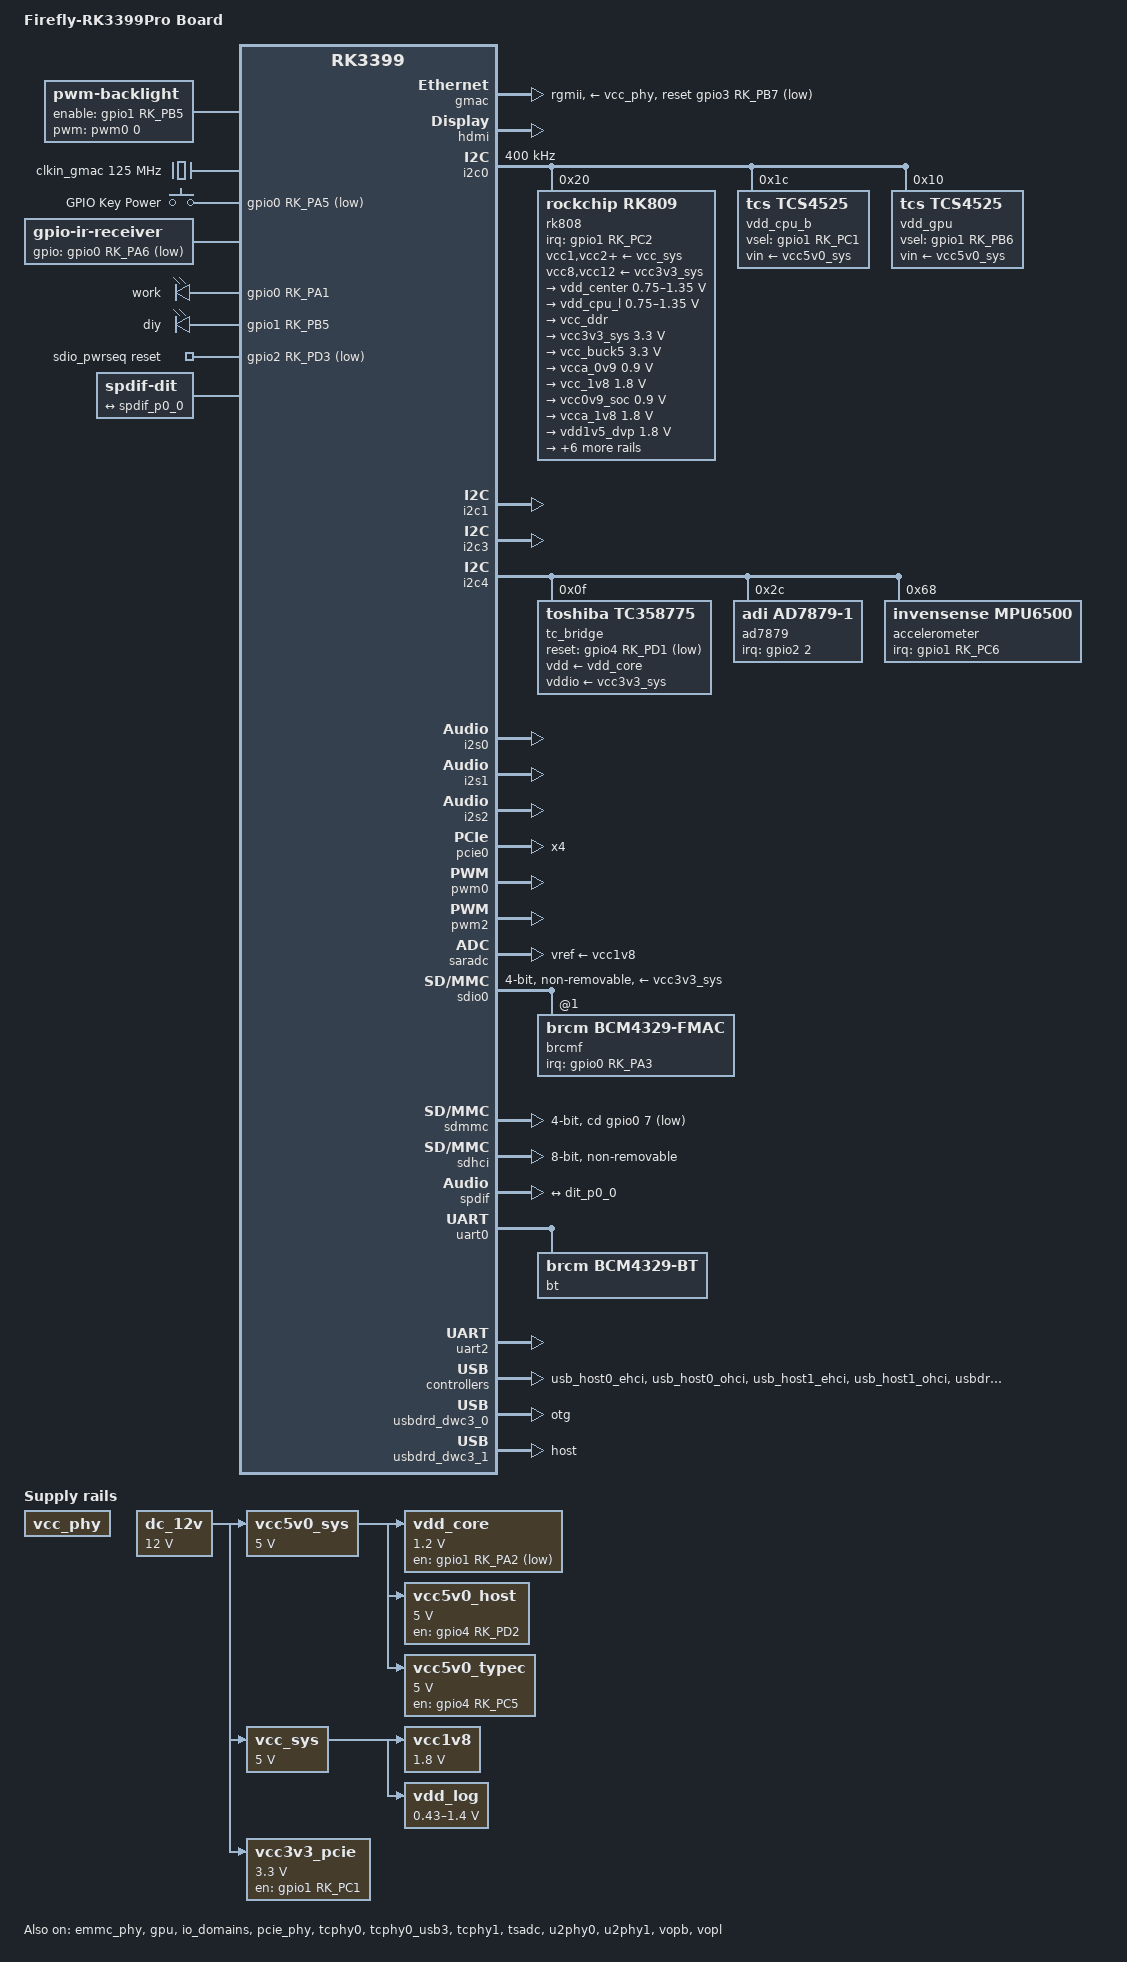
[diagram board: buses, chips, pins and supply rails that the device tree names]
// SPDX-License-Identifier: (GPL-2.0+ OR MIT)
/*
 * Copyright (c) 2017 Fuzhou Rockchip Electronics Co., Ltd.
 */

/dts-v1/;
#include <dt-bindings/input/linux-event-codes.h>
#include <dt-bindings/interrupt-controller/irq.h>
#include <dt-bindings/pwm/pwm.h>
#include <dt-bindings/usb/pd.h>

#include "rk3399pro.dtsi"
#include "rk3399-opp.dtsi"

/ {
	model = "Firefly-RK3399Pro Board";
	compatible = "firefly,firefly-rk3399pro",
		"firefly,firefly-rk3399",
		"rockchip,rk3399";

	aliases {
		mmc0 = &sdio0;
		mmc1 = &sdmmc;
		mmc2 = &sdhci;
	};

	chosen {
		stdout-path = "serial2:1500000n8";
	};

	backlight: backlight {
		compatible = "pwm-backlight";
		enable-gpios = <&gpio1 RK_PB5 GPIO_ACTIVE_HIGH>;
		pwms = <&pwm0 0 25000 0>;
		brightness-levels = <
			  0   1   2   3   4   5   6   7
			  8   9  10  11  12  13  14  15
			 16  17  18  19  20  21  22  23
			 24  25  26  27  28  29  30  31
			 32  33  34  35  36  37  38  39
			 40  41  42  43  44  45  46  47
			 48  49  50  51  52  53  54  55
			 56  57  58  59  60  61  62  63
			 64  65  66  67  68  69  70  71
			 72  73  74  75  76  77  78  79
			 80  81  82  83  84  85  86  87
			 88  89  90  91  92  93  94  95
			 96  97  98  99 100 101 102 103
			104 105 106 107 108 109 110 111
			112 113 114 115 116 117 118 119
			120 121 122 123 124 125 126 127
			128 129 130 131 132 133 134 135
			136 137 138 139 140 141 142 143
			144 145 146 147 148 149 150 151
			152 153 154 155 156 157 158 159
			160 161 162 163 164 165 166 167
			168 169 170 171 172 173 174 175
			176 177 178 179 180 181 182 183
			184 185 186 187 188 189 190 191
			192 193 194 195 196 197 198 199
			200 201 202 203 204 205 206 207
			208 209 210 211 212 213 214 215
			216 217 218 219 220 221 222 223
			224 225 226 227 228 229 230 231
			232 233 234 235 236 237 238 239
			240 241 242 243 244 245 246 247
			248 249 250 251 252 253 254 255>;
		default-brightness-level = <200>;
	};

	clkin_gmac: external-gmac-clock {
		compatible = "fixed-clock";
		clock-frequency = <125000000>;
		clock-output-names = "clkin_gmac";
		#clock-cells = <0>;
	};

	gpio-keys {
		compatible = "gpio-keys";
		autorepeat;
		pinctrl-names = "default";
		pinctrl-0 = <&pwrbtn>;

		key-power {
			debounce-interval = <100>;
			gpios = <&gpio0 RK_PA5 GPIO_ACTIVE_LOW>;
			label = "GPIO Key Power";
			linux,code = <KEY_POWER>;
			wakeup-source;
		};
	};

	ir-receiver {
		compatible = "gpio-ir-receiver";
		gpios = <&gpio0 RK_PA6 GPIO_ACTIVE_LOW>;
		pinctrl-0 = <&ir_int>;
		pinctrl-names = "default";
	};

	leds {
		compatible = "gpio-leds";
		pinctrl-names = "default";
		pinctrl-0 = <&work_led_pin>, <&diy_led_pin>;

		work_led: led-0 {
			label = "work";
			linux,default-trigger = "heartbeat";
			gpios = <&gpio0 RK_PA1 GPIO_ACTIVE_HIGH>;
		};

		diy_led: led-1 {
			label = "diy";
			linux,default-trigger = "heartbeat";
			gpios = <&gpio1 RK_PB5 GPIO_ACTIVE_HIGH>;
		};
	};

	rk809-sound {
		compatible = "simple-audio-card";
		simple-audio-card,format = "i2s";
		simple-audio-card,name = "rockchip,rk809-codec";
		simple-audio-card,mclk-fs = <256>;
		simple-audio-card,widgets =
			"Microphone", "Mic Jack",
			"Headphone", "Headphone Jack";
		simple-audio-card,routing =
			"Mic Jack", "MICBIAS1",
			"IN1P", "Mic Jack",
			"Headphone Jack", "HPOL",
			"Headphone Jack", "HPOR";
		simple-audio-card,cpu {
			sound-dai = <&i2s1>;
		};
		simple-audio-card,codec {
			sound-dai = <&rk809_codec>;
		};
	};

	sdio_pwrseq: sdio-pwrseq {
		compatible = "mmc-pwrseq-simple";
		clocks = <&rk808 1>;
		clock-names = "ext_clock";
		pinctrl-names = "default";
		pinctrl-0 = <&wifi_enable_h>;

		/*
		 * On the module itself this is one of these (depending
		 * on the actual card populated):
		 * - SDIO_RESET_L_WL_REG_ON
		 * - PDN (power down when low)
		 */
		reset-gpios = <&gpio2 RK_PD3 GPIO_ACTIVE_LOW>;
	};

	sound-dit {
		compatible = "audio-graph-card";
		label = "SPDIF";
		dais = <&spdif_p0>;
	};

	spdif-dit {
		compatible = "linux,spdif-dit";
		#sound-dai-cells = <0>;

		port {
			dit_p0_0: endpoint {
				remote-endpoint = <&spdif_p0_0>;
			};
		};
	};

	/*
	 *
	 */
	vcc_phy: vcc-phy-regulator {
		compatible = "regulator-fixed";
		regulator-name = "vcc_phy";
		regulator-always-on;
		regulator-boot-on;
	};
	/*
	 *
	 */

	/*
	 * Volatage Regulators and DC/DC converters
	 */
	dc_12v: dc-12v { /* J1 or J2 jack */
		compatible = "regulator-fixed";
		regulator-name = "dc_12v";
		regulator-always-on;
		regulator-boot-on;
		regulator-min-microvolt = <12000000>;
		regulator-max-microvolt = <12000000>;
	};

	vcc5v0_sys: vcc5v0-sys { /* U1 page 2 */
		compatible = "regulator-fixed";
		regulator-name = "vcc5v0_sys";
		regulator-always-on; /* PMIC_EXT_EN */
		regulator-boot-on;
		regulator-min-microvolt = <5000000>;
		regulator-max-microvolt = <5000000>;
		vin-supply = <&dc_12v>;
	};

	vdd_core: vdd-core { /* U13 page 16 */
		compatible = "regulator-fixed";
		pinctrl-names = "default";
		pinctrl-0 = <&mipi_pwr_en_pin>;
		regulator-name = "vdd_core";
		gpio = <&gpio1 RK_PA2 GPIO_ACTIVE_HIGH>;
		regulator-min-microvolt = <1200000>;
		regulator-max-microvolt = <1200000>;
		vin-supply = <&vcc5v0_sys>;
	};

	vcc_sys: vcc-sys { /* U2 page 2 */
		compatible = "regulator-fixed";
		regulator-name = "vcc_sys";
		regulator-always-on; /* PMIC_EXT_EN */
		regulator-boot-on;
		regulator-min-microvolt = <5000000>;
		regulator-max-microvolt = <5000000>;
		vin-supply = <&dc_12v>;
	};

	/* switched by pmic_sleep */
	vcc1v8: vcc1v8 {
		compatible = "regulator-fixed";
		regulator-name = "vcc1v8";
		regulator-always-on;
		regulator-boot-on;
		regulator-min-microvolt = <1800000>;
		regulator-max-microvolt = <1800000>;
		vin-supply = <&vcc_sys>;
	};

	vcc3v3_pcie: vcc3v3-pcie-regulator {
		compatible = "regulator-fixed";
		enable-active-high;
		gpio = <&gpio1 RK_PC1 GPIO_ACTIVE_HIGH>;
		pinctrl-names = "default";
		pinctrl-0 = <&pcie_pwr_en>;
		regulator-name = "vcc3v3_pcie";
		regulator-min-microvolt = <3300000>;
		regulator-max-microvolt = <3300000>;
		regulator-always-on;
		regulator-boot-on;
		vin-supply = <&dc_12v>;
	};

	/* Actually 3 regulators (host0, 1, 2) controlled by the same gpio */
	vcc5v0_host: vcc5v0-host-regulator {
		compatible = "regulator-fixed";
		enable-active-high;
		gpio = <&gpio4 RK_PD2 GPIO_ACTIVE_HIGH>;
		pinctrl-names = "default";
		pinctrl-0 = <&vcc5v0_host_en>;
		regulator-name = "vcc5v0_host";
		regulator-min-microvolt = <5000000>;
		regulator-max-microvolt = <5000000>;
		regulator-always-on;
		vin-supply = <&vcc5v0_sys>;
	};

	vcc5v0_typec: vcc5v0-typec-regulator {
		compatible = "regulator-fixed";
		enable-active-high;
		gpio = <&gpio4 RK_PC5 GPIO_ACTIVE_HIGH>;
		pinctrl-names = "default";
		pinctrl-0 = <&vcc5v0_typec_en>;
		regulator-name = "vcc5v0_typec";
		regulator-min-microvolt = <5000000>;
		regulator-max-microvolt = <5000000>;
		regulator-always-on;
		vin-supply = <&vcc5v0_sys>;
	};

	vdd_log: vdd-log {
		compatible = "pwm-regulator";
		pwms = <&pwm2 0 25000 1>;
		pwm-supply = <&vcc_sys>;
		regulator-name = "vdd_log";
		regulator-always-on;
		regulator-boot-on;
		regulator-min-microvolt = <430000>;
		regulator-max-microvolt = <1400000>;
	};
};

&cpu_l0 {
	cpu-supply = <&vdd_cpu_l>;
};

&cpu_l1 {
	cpu-supply = <&vdd_cpu_l>;
};

&cpu_l2 {
	cpu-supply = <&vdd_cpu_l>;
};

&cpu_l3 {
	cpu-supply = <&vdd_cpu_l>;
};

&cpu_b0 {
	cpu-supply = <&vdd_cpu_b>;
};

&cpu_b1 {
	cpu-supply = <&vdd_cpu_b>;
};

&emmc_phy {
	status = "okay";
};

&gmac {
	assigned-clocks = <&cru SCLK_RMII_SRC>;
	assigned-clock-parents = <&clkin_gmac>;
	clock_in_out = "input";
	phy-supply = <&vcc_phy>;
	phy-mode = "rgmii";
	pinctrl-names = "default";
	pinctrl-0 = <&rgmii_pins>;
	snps,reset-gpio = <&gpio3 RK_PB7 GPIO_ACTIVE_LOW>;
	snps,reset-active-low;
	snps,reset-delays-us = <0 10000 50000>;
	tx_delay = <0x28>;
	rx_delay = <0x11>;
	status = "okay";
};

&gpu {
	mali-supply = <&vdd_gpu>;
	status = "okay";
};

&hdmi {
	ddc-i2c-bus = <&i2c3>;
	pinctrl-names = "default";
	pinctrl-0 = <&hdmi_cec>;
	status = "okay";
};

&i2c0 {
	clock-frequency = <400000>;
	i2c-scl-rising-time-ns = <168>;
	i2c-scl-falling-time-ns = <4>;
	status = "okay";

	rk808: pmic@20 {
		compatible = "rockchip,rk809";
		reg = <0x20>;
		interrupt-parent = <&gpio1>;
		interrupts = <RK_PC2 IRQ_TYPE_LEVEL_LOW>;
		#clock-cells = <1>;
		clock-output-names = "xin32k", "rk808-clkout2";
		pinctrl-names = "default";
		pinctrl-0 = <&pmic_int_l>;
		rockchip,system-power-controller;
		wakeup-source;

		vcc1-supply = <&vcc_sys>;
		vcc2-supply = <&vcc_sys>;
		vcc3-supply = <&vcc_sys>;
		vcc4-supply = <&vcc_sys>;
		vcc5-supply = <&vcc_sys>;
		vcc6-supply = <&vcc_sys>;
		vcc7-supply = <&vcc_sys>;
		vcc8-supply = <&vcc3v3_sys>;
		vcc9-supply = <&vcc_sys>;
		vcc10-supply = <&vcc_sys>;
		vcc11-supply = <&vcc_sys>;
		vcc12-supply = <&vcc3v3_sys>;

		regulators {
			vdd_center: DCDC_REG1 {
				regulator-always-on;
				regulator-boot-on;
				regulator-min-microvolt = <750000>;
				regulator-max-microvolt = <1350000>;
				regulator-initial-mode = <0x2>;
				regulator-name = "vdd_center";
				regulator-state-mem {
					regulator-off-in-suspend;
					regulator-suspend-microvolt = <900000>;
				};
			};

			vdd_cpu_l: DCDC_REG2 {
				regulator-always-on;
				regulator-boot-on;
				regulator-min-microvolt = <750000>;
				regulator-max-microvolt = <1350000>;
				regulator-ramp-delay = <6001>;
				regulator-initial-mode = <0x2>;
				regulator-name = "vdd_cpu_l";
				regulator-state-mem {
					regulator-off-in-suspend;
				};
			};

			vcc_ddr: DCDC_REG3 {
				regulator-always-on;
				regulator-boot-on;
				regulator-name = "vcc_ddr";
				regulator-initial-mode = <0x2>;
				regulator-state-mem {
					regulator-on-in-suspend;
				};
			};

			vcc3v3_sys: DCDC_REG4 {
				regulator-always-on;
				regulator-boot-on;
				regulator-min-microvolt = <3300000>;
				regulator-max-microvolt = <3300000>;
				regulator-initial-mode = <0x2>;
				regulator-name = "vcc3v3_sys";
				regulator-state-mem {
					regulator-on-in-suspend;
					regulator-suspend-microvolt = <3300000>;
				};
			};

			vcc_buck5: DCDC_REG5 {
				regulator-always-on;
				regulator-boot-on;
				regulator-min-microvolt = <3300000>;
				regulator-max-microvolt = <3300000>;
				regulator-name = "vcc_buck5";
				regulator-state-mem {
					regulator-on-in-suspend;
					regulator-suspend-microvolt = <3300000>;
				};
			};

			vcca_0v9: LDO_REG1 {
				regulator-always-on;
				regulator-boot-on;
				regulator-min-microvolt = <900000>;
				regulator-max-microvolt = <900000>;
				regulator-name = "vcca_0v9";
				regulator-state-mem {
					regulator-off-in-suspend;
				};
			};

			vcc_1v8: LDO_REG2 {
				regulator-always-on;
				regulator-boot-on;
				regulator-min-microvolt = <1800000>;
				regulator-max-microvolt = <1800000>;

				regulator-name = "vcc_1v8";
				regulator-state-mem {
					regulator-on-in-suspend;
					regulator-suspend-microvolt = <1800000>;
				};
			};

			vcc0v9_soc: LDO_REG3 {
				regulator-always-on;
				regulator-boot-on;
				regulator-min-microvolt = <900000>;
				regulator-max-microvolt = <900000>;

				regulator-name = "vcc0v9_soc";
				regulator-state-mem {
					regulator-on-in-suspend;
					regulator-suspend-microvolt = <900000>;
				};
			};

			vcca_1v8: LDO_REG4 {
				regulator-always-on;
				regulator-boot-on;
				regulator-min-microvolt = <1800000>;
				regulator-max-microvolt = <1800000>;

				regulator-name = "vcca_1v8";
				regulator-state-mem {
					regulator-off-in-suspend;
				};
			};

			vdd1v5_dvp: LDO_REG5 {
				regulator-always-on;
				regulator-boot-on;
				regulator-min-microvolt = <1800000>;
				regulator-max-microvolt = <1800000>;

				regulator-name = "vdd1v5_dvp";
				regulator-state-mem {
					regulator-off-in-suspend;
				};
			};

			vcc_1v5: LDO_REG6 {
				regulator-always-on;
				regulator-boot-on;
				regulator-min-microvolt = <1500000>;
				regulator-max-microvolt = <1500000>;

				regulator-name = "vcc_1v5";
				regulator-state-mem {
					regulator-off-in-suspend;
				};
			};

			vcc_3v0: LDO_REG7 {
				regulator-always-on;
				regulator-boot-on;
				regulator-min-microvolt = <3000000>;
				regulator-max-microvolt = <3000000>;

				regulator-name = "vcc_3v0";
				regulator-state-mem {
					regulator-off-in-suspend;
				};
			};

			vccio_sd: LDO_REG8 {
				regulator-always-on;
				regulator-boot-on;
				regulator-min-microvolt = <1800000>;
				regulator-max-microvolt = <3300000>;

				regulator-name = "vccio_sd";
				regulator-state-mem {
					regulator-off-in-suspend;
				};
			};

			vcc_sd: LDO_REG9 {
				regulator-always-on;
				regulator-boot-on;
				regulator-min-microvolt = <3300000>;
				regulator-max-microvolt = <3300000>;

				regulator-name = "vcc_sd";
				regulator-state-mem {
					regulator-off-in-suspend;
				};
			};

			vcc5v0_usb: SWITCH_REG1 {
				regulator-always-on;
				regulator-boot-on;
				regulator-min-microvolt = <5000000>;
				regulator-max-microvolt = <5000000>;

				regulator-name = "vcc5v0_usb";
				regulator-state-mem {
					regulator-on-in-suspend;
					regulator-suspend-microvolt = <5000000>;
				};
			};

			vccio_3v3: SWITCH_REG2 {
				regulator-always-on;
				regulator-boot-on;
				regulator-min-microvolt = <3300000>;
				regulator-max-microvolt = <3300000>;

				regulator-name = "vccio_3v3";
				regulator-state-mem {
					regulator-off-in-suspend;
				};
			};
		};

		rk809_codec: codec {
			#sound-dai-cells = <0>;
			compatible = "rockchip,rk809-codec", "rockchip,rk817-codec";
			pinctrl-names = "default";
			pinctrl-0 = <&spk_ctl_gpio>;
			hp-volume = <20>;
			clocks = <&cru SCLK_I2S_8CH_OUT>;
			clock-names = "mclk";
			spk-volume = <3>;
			io-channels = <&saradc 4>;
			hp-det-adc-value = <930>;
			capture-volume = <0>;
			spk-ctl = <&gpio0 RK_PB1 GPIO_ACTIVE_HIGH>;
			status = "okay";
		};
	};

	vdd_cpu_b: tcs452x@1c {
		compatible = "tcs,tcs4525";
		reg = <0x1c>;
		vin-supply = <&vcc5v0_sys>;
		regulator-compatible = "fan53555-reg";
		regulator-name = "vdd_cpu_b";
		pinctrl-0 = <&vsel1_pin>;
		vsel-gpios = <&gpio1 RK_PC1 GPIO_ACTIVE_HIGH>;
		fcs,suspend-voltage-selector = <0>;
		regulator-always-on;
		regulator-boot-on;
	};

	vdd_gpu: tcs452x@10 {
		compatible = "tcs,tcs4525";
		reg = <0x10>;
		vin-supply = <&vcc5v0_sys>;
		regulator-compatible = "fan53555-reg";
		pinctrl-0 = <&vsel2_pin>;
		vsel-gpios = <&gpio1 RK_PB6 GPIO_ACTIVE_HIGH>;
		regulator-name = "vdd_gpu";
		fcs,suspend-voltage-selector = <1>;
		regulator-always-on;
		regulator-boot-on;
	};
};

&i2c1 {
	i2c-scl-rising-time-ns = <300>;
	i2c-scl-falling-time-ns = <15>;
	status = "okay";
};

&i2c3 {
	i2c-scl-rising-time-ns = <450>;
	i2c-scl-falling-time-ns = <15>;
	status = "okay";
};

&i2c4 {
	i2c-scl-rising-time-ns = <600>;
	i2c-scl-falling-time-ns = <20>;
	status = "okay";

	tc_bridge: bridge@f {
		compatible = "toshiba,tc358775";
		pinctrl-names = "default";
		pinctrl-0 = <&mipi_lvds_br_pin>;
		reg = <0x0f>;

		vdd-supply = <&vdd_core>;
		vddio-supply = <&vcc3v3_sys>;

/*		stby-gpios = <&msmgpio99GPIO_ACTIVE_LOW>;		*/
		reset-gpios = <&gpio4 RK_PD1 GPIO_ACTIVE_LOW>;

		ports {
			#address-cells=<1>;
			#size-cells=<0>;

			port@0 {
				reg = <0>;
				d2l_in_test: endpoint {
//					remote-endpoint= <&dsi0_out>;
				};
			};

			port@1 {
				reg = <1>;
				lvds_out: endpoint {
//					remote-endpoint= <&panel_in>;
				};
			};
		};
	};

	ad7879@2c {
		compatible = "adi,ad7879-1";
		reg = <0x2c>;

		interrupt-parent = <&gpio2>;
		interrupts = <2 IRQ_TYPE_EDGE_FALLING>;

		touchscreen-max-pressure = <4096>;
		adi,resistance-plate-x = <120>;
		adi,first-conversion-delay = /bits/ 8 <3>;
		adi,acquisition-time = /bits/ 8 <1>;
		adi,median-filter-size = /bits/ 8 <2>;
		adi,averaging = /bits/ 8 <1>;
		adi,conversion-interval = /bits/ 8 <255>;
		status = "okay";
	};

	accelerometer@68 {
		compatible = "invensense,mpu6500";
		reg = <0x68>;
		interrupt-parent = <&gpio1>;
		interrupts = <RK_PC6 IRQ_TYPE_EDGE_RISING>;
	};
};

&i2s0 {
	rockchip,playback-channels = <8>;
	rockchip,capture-channels = <8>;
	status = "okay";
};

&i2s1 {
	rockchip,playback-channels = <2>;
	rockchip,capture-channels = <2>;
	status = "okay";
};

&i2s2 {
	status = "okay";
};

&io_domains {
	status = "okay";

	bt656-supply = <&vcc_3v0>;
	audio-supply = <&vcca_1v8>;
	sdmmc-supply = <&vccio_sd>;
	gpio1830-supply = <&vcc_3v0>;
};

&pmu_io_domains {
	pmu1830-supply = <&vcc_3v0>;
	status = "okay";
};

&pcie_phy {
	status = "okay";
};

&pcie0 {
	ep-gpios = <&gpio4 RK_PD1 GPIO_ACTIVE_HIGH>;
	num-lanes = <4>;
	pinctrl-names = "default";
	pinctrl-0 = <&pcie_clkreqn_cpm>;
	status = "okay";
};


&pinctrl {
	buttons {
		pwrbtn: pwrbtn {
			rockchip,pins = <0 RK_PA5 RK_FUNC_GPIO &pcfg_pull_up>;
		};
	};

	ir {
		ir_int: ir-int {
			rockchip,pins = <0 RK_PA6 RK_FUNC_GPIO &pcfg_pull_none>;
		};
	};

	lcd-panel {
		lcd_panel_reset: lcd-panel-reset {
			rockchip,pins = <4 RK_PD6 RK_FUNC_GPIO &pcfg_pull_up>;
		};

		mipi_lvds_br_pin: mipi-lvds-br {
			rockchip,pins = <4 RK_PD1 RK_FUNC_GPIO &pcfg_pull_up>;
		};

		mipi_pwr_en_pin: mipi-pwr-en {
			rockchip,pins = <1 RK_PA2 RK_FUNC_GPIO &pcfg_pull_up>;
		};
	};

	leds { /* Fixed: 0_A1, 1_B5 - PRO */
		work_led_pin: work-led-pin {
			rockchip,pins = <0 RK_PA1 RK_FUNC_GPIO &pcfg_pull_none>;
		};

		diy_led_pin: diy-led-pin {
			rockchip,pins = <1 RK_PB5 RK_FUNC_GPIO &pcfg_pull_none>;
		};
	};

	pcie {
		pcie_pwr_en: pcie-pwr-en {
			rockchip,pins = <1 RK_PC1 RK_FUNC_GPIO &pcfg_pull_none>;
		};

		pcie_3g_drv: pcie-3g-drv {
			rockchip,pins = <0 RK_PA2 RK_FUNC_GPIO &pcfg_pull_up>;
		};
	};

	pmic { /* OK */
		pmic_int_l: pmic-int-l {
			rockchip,pins = <1 RK_PC2 RK_FUNC_GPIO &pcfg_pull_up>;
		};

		vsel1_pin: vsel1-pin {
			rockchip,pins = <1 RK_PC1 RK_FUNC_GPIO &pcfg_pull_down>;
		};

		vsel2_pin: vsel2-pin {
			rockchip,pins = <1 RK_PB6 RK_FUNC_GPIO &pcfg_pull_down>;
		};

		/* ToDo: we need this??? */
		soc_slppin_gpio: soc-slppin-gpio {
			rockchip,pins =
				<1 RK_PA5 0 &pcfg_output_low>;
		};

		soc_slppin_slp: soc-slppin-slp {
			rockchip,pins =
				<1 RK_PA5 1 &pcfg_pull_down>;
		};
	};

	rk809 {
		spk_ctl_gpio: spk_ctl_gpio {
			rockchip,pins = <0 RK_PB1 RK_FUNC_GPIO &pcfg_pull_up>;
		};

		rk809_hpcon: rk809-hpcon {
			rockchip,pins = <4 RK_PC5 RK_FUNC_GPIO &pcfg_pull_none>;
		};
	};

	sdio-pwrseq { /* OK */
		wifi_enable_h: wifi-enable-h {
			rockchip,pins = <2 RK_PD3 RK_FUNC_GPIO &pcfg_pull_none>;
		};
	};

	usb-typec { /* OK */
		vcc5v0_typec_en: vcc5v0_typec_en {
			rockchip,pins = <4 RK_PC5 RK_FUNC_GPIO &pcfg_pull_up>;
		};
	};

	usb2 { /* OK */
		vcc5v0_host_en: vcc5v0-host-en {
			rockchip,pins = <4 RK_PD2 RK_FUNC_GPIO &pcfg_pull_none>;
		};
	};

	wifi { /* OK */
		wifi_host_wake_l: wifi-host-wake-l {
			rockchip,pins = <0 RK_PA3 RK_FUNC_GPIO &pcfg_pull_none>;
		};
	};
};

&pwm0 {
	status = "okay";
};

&pwm2 {
	status = "okay";
};

&saradc {
	vref-supply = <&vcc1v8>;
	status = "okay";
};

&sdio0 {
	/* WiFi & BT combo module Ampak AP6356S */
	bus-width = <4>;
	cap-sdio-irq;
	cap-sd-highspeed;
	keep-power-in-suspend;
	mmc-pwrseq = <&sdio_pwrseq>;
	non-removable;
	pinctrl-names = "default";
	pinctrl-0 = <&sdio0_bus4 &sdio0_cmd &sdio0_clk>;
	sd-uhs-sdr104;

	/* Power supply */
	vqmmc-supply = <&vcc1v8>;	/* IO line */
	vmmc-supply = <&vcc3v3_sys>;	/* card's power */

	#address-cells = <1>;
	#size-cells = <0>;
	status = "okay";

	brcmf: wifi@1 {
		reg = <1>;
		compatible = "brcm,bcm4329-fmac";
		interrupt-parent = <&gpio0>;
		interrupts = <RK_PA3 IRQ_TYPE_LEVEL_HIGH>;
		interrupt-names = "host-wake";
		brcm,drive-strength = <5>;
		pinctrl-names = "default";
		pinctrl-0 = <&wifi_host_wake_l>;
	};
};

&sdmmc {
	bus-width = <4>;
	cap-mmc-highspeed;
	cap-sd-highspeed;
	cd-gpios = <&gpio0 7 GPIO_ACTIVE_LOW>;
	disable-wp;
	max-frequency = <150000000>;
	pinctrl-names = "default";
	pinctrl-0 = <&sdmmc_clk &sdmmc_cmd &sdmmc_bus4>;
	status = "okay";
};

&sdhci {
	bus-width = <8>;
	mmc-hs400-1_8v;
	mmc-hs400-enhanced-strobe;
	non-removable;
	status = "okay";
};

&spdif {
	pinctrl-0 = <&spdif_bus_1>;
	status = "okay";

	spdif_p0: port {
		spdif_p0_0: endpoint {
			remote-endpoint = <&dit_p0_0>;
		};
	};
};

&tcphy0
{
	status = "okay";
};

&tcphy0_usb3
{
	status = "okay";
};

&tcphy1 {
	status = "okay";
};

&tsadc {
	/* tshut mode 0:CRU 1:GPIO */
	rockchip,hw-tshut-mode = <1>;
	/* tshut polarity 0:LOW 1:HIGH */
	rockchip,hw-tshut-polarity = <1>;
	status = "okay";
};

&spi1 {
	staus = "okay";
	/* FixMe:
	 *	serial converter on MB &gpio2 RK_PA6 reset gpio
	 */
};

&spi2 {
	staus = "okay";
};

&u2phy0 {
	status = "okay";

	u2phy0_otg: otg-port {
		status = "okay";
	};

	u2phy0_host: host-port {
		phy-supply = <&vcc5v0_host>;
		status = "okay";
	};
};

&u2phy1 {
	status = "okay";

	u2phy1_otg: otg-port {
		status = "okay";
	};

	u2phy1_host: host-port {
		phy-supply = <&vcc5v0_host>;
		status = "okay";
	};
};

&uart0 {
	pinctrl-names = "default";
	pinctrl-0 = <&uart0_xfer &uart0_cts>;
	status = "okay";

	bt: bluetooth {
		compatible = "brcm,bcm4329-bt";
		max-speed = <2000000>;
	};
};

&uart2 {
	status = "okay";
};

&usb_host0_ehci {
	status = "okay";
};

&usb_host0_ohci {
	status = "okay";
};

&usb_host1_ehci {
	status = "okay";
};

&usb_host1_ohci {
	status = "okay";
};

&usbdrd3_0 {
	status = "okay";
};

&usbdrd_dwc3_0 {
	status = "okay";
	dr_mode = "otg";
};

&usbdrd3_1 {
	status = "okay";
};

&usbdrd_dwc3_1 {
	status = "okay";
	dr_mode = "host";
};

&vopb {
	status = "okay";
};

&vopb_mmu {
	status = "okay";
};

&vopl {
	status = "okay";
};

&vopl_mmu {
	status = "okay";
};
